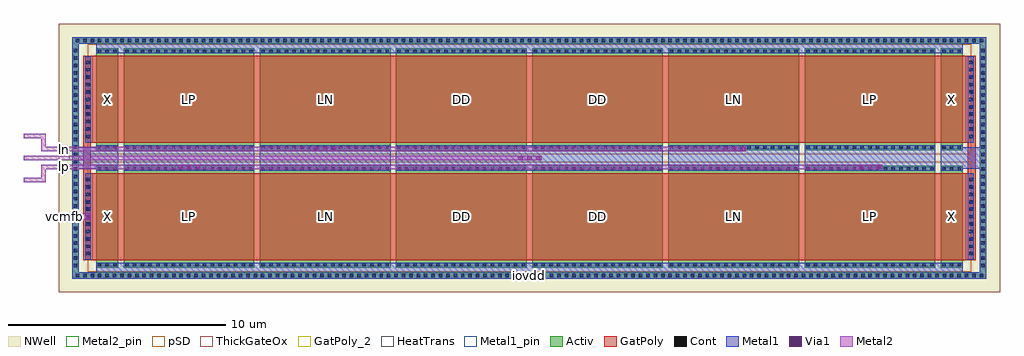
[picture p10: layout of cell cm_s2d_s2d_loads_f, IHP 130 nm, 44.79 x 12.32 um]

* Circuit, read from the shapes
.subckt cm_s2d_s2d_loads_f dd iovdd ln lp vcmfb
XM1 iovdd vcmfb iovdd iovdd sg13_hv_pmos w=1u l=4u m=4
XM2 lp vcmfb iovdd iovdd sg13_hv_pmos w=6u l=4u m=4
XM3 ln vcmfb iovdd iovdd sg13_hv_pmos w=6u l=4u m=4
XM4 dd vcmfb iovdd iovdd sg13_hv_pmos w=6u l=4u m=4
.ends

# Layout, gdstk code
from math import pi, radians
import gdstk
lib = gdstk.Library(unit=1e-6, precision=1e-09)
def R(c, l, rs):  # rectangles x0, y0, x1, y1
    for r in rs: c.add(gdstk.rectangle(r[:2], r[2:], *l))
def A(c, l, x, y, w, h, nx, ny, dx, dy):  # array of equal rectangles
    R(c, l, [(x+i*dx, y+j*dy, x+i*dx+w, y+j*dy+h) for i in range(nx) for j in range(ny)])
Activ = (1, 0)
GatPoly = (5, 0)
GatPoly_2 = (5, 2)
Cont = (6, 0)
Metal1 = (8, 0)
Metal1_pin = (8, 2)
Metal2 = (10, 0)
Metal2_pin = (10, 2)
pSD = (14, 0)
Via1 = (19, 0)
NWell = (31, 0)
ThickGateOx = (44, 0)
HeatTrans = (51, 0)

cm_s2d_pmoshv_w6_l4 = lib.new_cell('cm_s2d_pmosHV_w6_l4')
R(cm_s2d_pmoshv_w6_l4, Activ, [(0,0,0.3,0.3), (0,0,4.68,6), (4.38,0,4.68,0.3)])
R(cm_s2d_pmoshv_w6_l4, GatPoly, [(0.34,-0.18,4.34,6.18)])
R(cm_s2d_pmoshv_w6_l4, GatPoly_2, [(0.34,-0.18,4.34,6.18)])
A(cm_s2d_pmoshv_w6_l4, Cont, 0.07, 0.07, 0.16, 0.16, 1, 4, 0, 0.355)
A(cm_s2d_pmoshv_w6_l4, Cont, 4.45, 0.07, 0.16, 0.16, 1, 4, 0, 0.355)
A(cm_s2d_pmoshv_w6_l4, Cont, 0.07, 1.495, 0.16, 0.16, 1, 4, 0, 0.355)
A(cm_s2d_pmoshv_w6_l4, Cont, 4.45, 1.495, 0.16, 0.16, 1, 4, 0, 0.355)
A(cm_s2d_pmoshv_w6_l4, Cont, 0.07, 2.92, 0.16, 0.16, 1, 4, 0, 0.355)
A(cm_s2d_pmoshv_w6_l4, Cont, 4.45, 2.92, 0.16, 0.16, 1, 4, 0, 0.355)
A(cm_s2d_pmoshv_w6_l4, Cont, 0.07, 4.345, 0.16, 0.16, 1, 4, 0, 0.355)
A(cm_s2d_pmoshv_w6_l4, Cont, 4.45, 4.345, 0.16, 0.16, 1, 4, 0, 0.355)
R(cm_s2d_pmoshv_w6_l4, Cont, [(0.07,5.77,0.23,5.93), (4.45,5.77,4.61,5.93)])
R(cm_s2d_pmoshv_w6_l4, Metal1, [(0.07,0,0.23,6), (4.45,0,4.61,6)])
R(cm_s2d_pmoshv_w6_l4, Metal1_pin, [(0.07,0,0.23,6), (4.45,0,4.61,6)])
R(cm_s2d_pmoshv_w6_l4, pSD, [(-0.18,-0.4,4.86,6.4)])
R(cm_s2d_pmoshv_w6_l4, NWell, [(-0.62,-0.62,5.3,6.62)])
R(cm_s2d_pmoshv_w6_l4, ThickGateOx, [(-0.62,-0.62,5.3,6.62)])
R(cm_s2d_pmoshv_w6_l4, HeatTrans, [(0.34,-0.18,4.34,6.18)])
cm_s2d_pmoshv_w6_l4.add(gdstk.Label('pmosHV', (2.34,3), layer=63, texttype=0))
cm_s2d_pmoshv_w6_l4.add(gdstk.Label('pmos', (2.34,3), layer=51, texttype=0))

cm_s2d_pmoshv_w1_l4_1 = lib.new_cell('cm_s2d_pmosHV_w1_l4_1')
R(cm_s2d_pmoshv_w1_l4_1, Activ, [(0,0,0.3,0.3), (0,0,4.68,1), (4.38,0,4.68,0.3)])
R(cm_s2d_pmoshv_w1_l4_1, GatPoly, [(0.34,-0.18,4.34,1.18)])
R(cm_s2d_pmoshv_w1_l4_1, GatPoly_2, [(0.34,-0.18,4.34,1.18)])
A(cm_s2d_pmoshv_w1_l4_1, Cont, 0.07, 0.07, 0.16, 0.16, 1, 3, 0, 0.35)
A(cm_s2d_pmoshv_w1_l4_1, Cont, 4.45, 0.07, 0.16, 0.16, 1, 3, 0, 0.35)
R(cm_s2d_pmoshv_w1_l4_1, Metal1, [(0.07,0,0.23,1), (4.45,0,4.61,1)])
R(cm_s2d_pmoshv_w1_l4_1, Metal1_pin, [(0.07,0,0.23,1), (4.45,0,4.61,1)])
R(cm_s2d_pmoshv_w1_l4_1, pSD, [(-0.18,-0.4,4.86,1.4)])
R(cm_s2d_pmoshv_w1_l4_1, NWell, [(-0.62,-0.62,5.3,1.62)])
R(cm_s2d_pmoshv_w1_l4_1, ThickGateOx, [(-0.62,-0.62,5.3,1.62)])
R(cm_s2d_pmoshv_w1_l4_1, HeatTrans, [(0.34,-0.18,4.34,1.18)])
cm_s2d_pmoshv_w1_l4_1.add(gdstk.Label('pmosHV', (2.34,0.5), layer=63, texttype=0))
cm_s2d_pmoshv_w1_l4_1.add(gdstk.Label('pmos', (2.34,0.5), layer=51, texttype=0))

cm_s2d_s2d_loads_f = lib.new_cell('cm_s2d_s2d_loads_f')
R(cm_s2d_s2d_loads_f, Activ, [(0.62,0.62,42.57,0.92), (0.62,0.92,0.92,11.4), (42.27,0.92,42.57,11.4), (0.62,11.4,42.57,11.7)])
R(cm_s2d_s2d_loads_f, GatPoly, [(1.12,1.47,1.72,5.47), (41.47,1.47,42.07,5.47), (1.12,5.47,1.47,6.85), (41.72,5.47,42.07,6.85), (1.12,6.85,1.72,10.85), (41.47,6.85,42.07,10.85)])
A(cm_s2d_s2d_loads_f, Cont, 0.775, 0.69, 0.16, 0.16, 123, 2, 0.34, 10.78)
A(cm_s2d_s2d_loads_f, Cont, 0.69, 1.15, 0.16, 0.16, 1, 30, 0, 0.34)
A(cm_s2d_s2d_loads_f, Cont, 42.34, 1.15, 0.16, 0.16, 1, 30, 0, 0.34)
A(cm_s2d_s2d_loads_f, Cont, 1.26, 1.69, 0.16, 0.16, 1, 11, 0, 0.34)
A(cm_s2d_s2d_loads_f, Cont, 41.77, 1.69, 0.16, 0.16, 1, 11, 0, 0.34)
A(cm_s2d_s2d_loads_f, Cont, 1.26, 7.07, 0.16, 0.16, 1, 11, 0, 0.34)
A(cm_s2d_s2d_loads_f, Cont, 41.77, 7.07, 0.16, 0.16, 1, 11, 0, 0.34)
R(cm_s2d_s2d_loads_f, Metal1, [(0.62,0.62,42.57,0.92), (1.72,0.62,41.47,1.36), (0.62,0.92,0.92,11.4), (42.27,0.92,42.57,11.4), (1.21,1.49,1.47,5.45), (41.72,1.49,41.98,5.45), (1.72,5.58,2.72,6.74), (2.97,5.58,8.97,6.74), (9.22,5.58,15.22,6.74), (15.47,5.58,27.72,6.74), (27.97,5.58,33.97,6.74), (34.22,5.58,40.22,6.74), (40.47,5.58,41.47,6.74), (0.92,5.67,2.72,6.65), (40.47,5.67,42.27,6.65), (1.21,6.87,1.47,10.83), (41.72,6.87,41.98,10.83), (1.72,10.96,41.47,11.7), (0.62,11.4,42.57,11.7)])
R(cm_s2d_s2d_loads_f, Metal1_pin, [(20.595,0.62,22.595,0.92)])
R(cm_s2d_s2d_loads_f, Metal2, [(0,3.32,1.47,3.62), (-1.6,5.05,-0.6,5.25), (-0.8,5.05,-0.6,5.85), (-0.6,5.65,0,5.85), (0,5.65,37.775,5.85), (-1.6,6.06,0,6.26), (0,6.06,22.15,6.26), (-0.8,6.47,-0.6,7.27), (-0.6,6.47,0,6.67), (0,6.47,31.525,6.67), (-1.6,7.07,-0.6,7.27)])
A(cm_s2d_s2d_loads_f, Metal2_pin, 0, 5.65, 0.5, 0.2, 1, 3, 0, 0.41)
R(cm_s2d_s2d_loads_f, Metal2_pin, [(0,3.32,0.5,3.62)])
A(cm_s2d_s2d_loads_f, Via1, 5.465, 5.655, 0.19, 0.19, 3, 1, 0.41, 0)
A(cm_s2d_s2d_loads_f, Via1, 36.715, 5.655, 0.19, 0.19, 3, 1, 0.41, 0)
A(cm_s2d_s2d_loads_f, Via1, 21.09, 6.065, 0.19, 0.19, 3, 1, 0.41, 0)
A(cm_s2d_s2d_loads_f, Via1, 11.715, 6.475, 0.19, 0.19, 3, 1, 0.41, 0)
A(cm_s2d_s2d_loads_f, Via1, 30.465, 6.475, 0.19, 0.19, 3, 1, 0.41, 0)
R(cm_s2d_s2d_loads_f, Via1, [(1.245,3.375,1.435,3.565)])
R(cm_s2d_s2d_loads_f, NWell, [(0,0,43.19,12.32)])
R(cm_s2d_s2d_loads_f, ThickGateOx, [(0,0,43.19,12.32)])
cm_s2d_s2d_loads_f.add(gdstk.Reference(cm_s2d_pmoshv_w6_l4, (8.97,1.13), rotation=pi/2))
cm_s2d_s2d_loads_f.add(gdstk.Reference(cm_s2d_pmoshv_w6_l4, (15.22,1.13), rotation=pi/2))
cm_s2d_s2d_loads_f.add(gdstk.Reference(cm_s2d_pmoshv_w6_l4, (21.47,1.13), rotation=pi/2))
cm_s2d_s2d_loads_f.add(gdstk.Reference(cm_s2d_pmoshv_w6_l4, (21.72,11.19), rotation=3*pi/2))
cm_s2d_s2d_loads_f.add(gdstk.Reference(cm_s2d_pmoshv_w6_l4, (27.97,11.19), rotation=3*pi/2))
cm_s2d_s2d_loads_f.add(gdstk.Reference(cm_s2d_pmoshv_w6_l4, (34.22,11.19), rotation=3*pi/2))
cm_s2d_s2d_loads_f.add(gdstk.Reference(cm_s2d_pmoshv_w6_l4, (21.72,1.13), rotation=pi/2, x_reflection=True))
cm_s2d_s2d_loads_f.add(gdstk.Reference(cm_s2d_pmoshv_w6_l4, (27.97,1.13), rotation=pi/2, x_reflection=True))
cm_s2d_s2d_loads_f.add(gdstk.Reference(cm_s2d_pmoshv_w6_l4, (34.22,1.13), rotation=pi/2, x_reflection=True))
cm_s2d_s2d_loads_f.add(gdstk.Reference(cm_s2d_pmoshv_w6_l4, (8.97,11.19), rotation=3*pi/2, x_reflection=True))
cm_s2d_s2d_loads_f.add(gdstk.Reference(cm_s2d_pmoshv_w6_l4, (15.22,11.19), rotation=3*pi/2, x_reflection=True))
cm_s2d_s2d_loads_f.add(gdstk.Reference(cm_s2d_pmoshv_w6_l4, (21.47,11.19), rotation=3*pi/2, x_reflection=True))
cm_s2d_s2d_loads_f.add(gdstk.Reference(cm_s2d_pmoshv_w1_l4_1, (2.72,1.13), rotation=pi/2))
cm_s2d_s2d_loads_f.add(gdstk.Reference(cm_s2d_pmoshv_w1_l4_1, (40.47,11.19), rotation=3*pi/2))
cm_s2d_s2d_loads_f.add(gdstk.Reference(cm_s2d_pmoshv_w1_l4_1, (40.47,1.13), rotation=pi/2, x_reflection=True))
cm_s2d_s2d_loads_f.add(gdstk.Reference(cm_s2d_pmoshv_w1_l4_1, (2.72,11.19), rotation=3*pi/2, x_reflection=True))
cm_s2d_s2d_loads_f.add(gdstk.Label('X', (2.22,3.47), layer=63, texttype=0))
cm_s2d_s2d_loads_f.add(gdstk.Label('LP', (5.97,3.47), layer=63, texttype=0))
cm_s2d_s2d_loads_f.add(gdstk.Label('LN', (12.22,3.47), layer=63, texttype=0))
cm_s2d_s2d_loads_f.add(gdstk.Label('DD', (18.47,3.47), layer=63, texttype=0))
cm_s2d_s2d_loads_f.add(gdstk.Label('DD', (24.72,3.47), layer=63, texttype=0))
cm_s2d_s2d_loads_f.add(gdstk.Label('LN', (30.97,3.47), layer=63, texttype=0))
cm_s2d_s2d_loads_f.add(gdstk.Label('LP', (37.22,3.47), layer=63, texttype=0))
cm_s2d_s2d_loads_f.add(gdstk.Label('X', (40.97,3.47), layer=63, texttype=0))
cm_s2d_s2d_loads_f.add(gdstk.Label('X', (2.22,8.85), layer=63, texttype=0))
cm_s2d_s2d_loads_f.add(gdstk.Label('LP', (5.97,8.85), layer=63, texttype=0))
cm_s2d_s2d_loads_f.add(gdstk.Label('LN', (12.22,8.85), layer=63, texttype=0))
cm_s2d_s2d_loads_f.add(gdstk.Label('DD', (18.47,8.85), layer=63, texttype=0))
cm_s2d_s2d_loads_f.add(gdstk.Label('DD', (24.72,8.85), layer=63, texttype=0))
cm_s2d_s2d_loads_f.add(gdstk.Label('LN', (30.97,8.85), layer=63, texttype=0))
cm_s2d_s2d_loads_f.add(gdstk.Label('LP', (37.22,8.85), layer=63, texttype=0))
cm_s2d_s2d_loads_f.add(gdstk.Label('X', (40.97,8.85), layer=63, texttype=0))
cm_s2d_s2d_loads_f.add(gdstk.Label('iovdd', (21.595,0.77), layer=8, texttype=25))
cm_s2d_s2d_loads_f.add(gdstk.Label('lp', (0.25,5.75), layer=10, texttype=25))
cm_s2d_s2d_loads_f.add(gdstk.Label('dd', (0.25,6.16), layer=10, texttype=25))
cm_s2d_s2d_loads_f.add(gdstk.Label('ln', (0.25,6.57), layer=10, texttype=25))
cm_s2d_s2d_loads_f.add(gdstk.Label('vcmfb', (0.25,3.47), layer=10, texttype=25))

lib.write_gds('cm_s2d_s2d_loads_f.gds')
